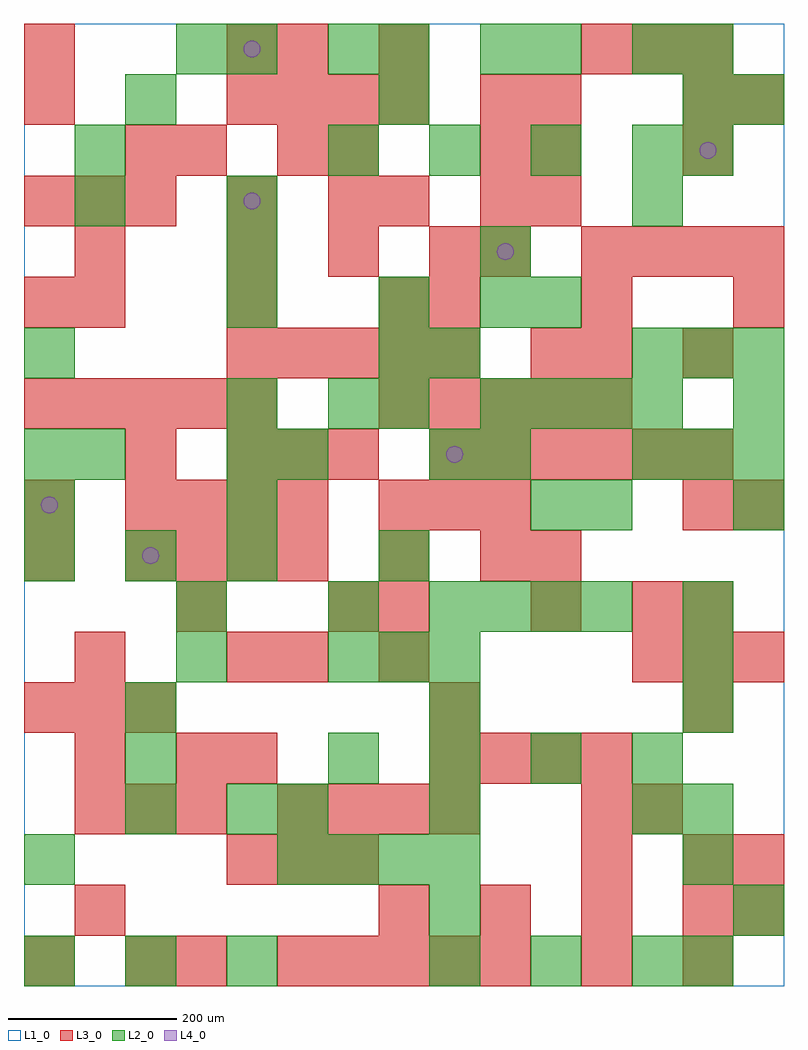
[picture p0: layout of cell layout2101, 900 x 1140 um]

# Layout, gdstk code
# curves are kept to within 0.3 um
import gdstk
lib = gdstk.Library(unit=1e-6, precision=1e-09)
def R(c, l, rs):  # rectangles x0, y0, x1, y1
    for r in rs: c.add(gdstk.rectangle(r[:2], r[2:], *l))
def A(c, l, x, y, w, h, nx, ny, dx, dy):  # array of equal rectangles
    R(c, l, [(x+i*dx, y+j*dy, x+i*dx+w, y+j*dy+h) for i in range(nx) for j in range(ny)])
def P(c, l, *ps):  # polygons
    for p in ps: c.add(gdstk.Polygon(p, *l))
L1_0 = (1, 0)
L2_0 = (2, 0)
L3_0 = (3, 0)
L4_0 = (4, 0)

layout2101 = lib.new_cell('layout2101')
R(layout2101, L1_0, [(0,0,900,1140)])
A(layout2101, L2_0, 0, 0, 60, 60, 3, 2, 120, 480)
A(layout2101, L2_0, 480, 0, 60, 60, 3, 1, 120, 0)
A(layout2101, L2_0, 480, 60, 60, 60, 1, 3, 0, 120)
A(layout2101, L2_0, 300, 120, 60, 60, 4, 1, 60, 0)
A(layout2101, L2_0, 120, 180, 60, 60, 1, 3, 0, 60)
A(layout2101, L2_0, 360, 240, 60, 60, 4, 2, 120, 720)
A(layout2101, L2_0, 780, 300, 60, 60, 1, 3, 0, 60)
A(layout2101, L2_0, 360, 360, 60, 60, 3, 1, 60, 0)
A(layout2101, L2_0, 480, 420, 60, 60, 4, 1, 60, 0)
A(layout2101, L2_0, 240, 540, 60, 60, 1, 3, 0, 60)
A(layout2101, L2_0, 720, 600, 60, 60, 3, 2, 60, 120)
A(layout2101, L2_0, 420, 660, 60, 60, 1, 3, 0, 60)
A(layout2101, L2_0, 540, 660, 60, 60, 4, 1, 60, 0)
A(layout2101, L2_0, 240, 780, 60, 60, 1, 3, 0, 60)
A(layout2101, L2_0, 780, 960, 60, 60, 1, 3, 0, 60)
R(layout2101, L2_0, [(780,0,840,60), (840,60,900,120), (0,120,60,180), (780,120,840,180), (240,180,300,240), (300,180,360,240), (720,180,780,240), (780,180,840,240), (180,360,240,420), (180,420,240,480), (360,420,420,480), (420,480,480,540), (0,540,60,600), (600,540,660,600), (660,540,720,600), (840,540,900,600), (0,600,60,660), (60,600,120,660), (300,600,360,660), (480,600,540,660), (540,600,600,660), (360,660,420,720), (840,660,900,720), (0,720,60,780), (480,720,540,780), (540,780,600,840), (600,780,660,840), (540,840,600,900), (60,900,120,960), (720,900,780,960), (60,960,120,1020), (120,1020,180,1080), (420,1020,480,1080), (840,1020,900,1080), (180,1080,240,1140), (240,1080,300,1140), (360,1080,420,1140), (420,1080,480,1140), (540,1080,600,1140), (600,1080,660,1140), (720,1080,780,1140)])
A(layout2101, L3_0, 300, 0, 60, 60, 5, 1, 60, 0)
A(layout2101, L3_0, 420, 60, 60, 60, 4, 1, 120, 0)
A(layout2101, L3_0, 240, 120, 60, 60, 3, 2, 60, 480)
A(layout2101, L3_0, 60, 180, 60, 60, 3, 1, 60, 0)
A(layout2101, L3_0, 300, 180, 60, 60, 4, 1, 60, 0)
A(layout2101, L3_0, 480, 240, 60, 60, 4, 1, 60, 0)
A(layout2101, L3_0, 0, 300, 60, 60, 3, 2, 60, 600)
A(layout2101, L3_0, 780, 300, 60, 60, 1, 3, 0, 120)
A(layout2101, L3_0, 420, 360, 60, 60, 1, 3, 0, 60)
A(layout2101, L3_0, 720, 360, 60, 60, 3, 1, 60, 0)
A(layout2101, L3_0, 120, 480, 60, 60, 4, 2, 60, 60)
A(layout2101, L3_0, 0, 540, 60, 60, 1, 3, 0, 240)
A(layout2101, L3_0, 420, 540, 60, 60, 3, 1, 60, 0)
A(layout2101, L3_0, 480, 600, 60, 60, 6, 1, 60, 0)
A(layout2101, L3_0, 0, 660, 60, 60, 5, 1, 60, 0)
A(layout2101, L3_0, 420, 660, 60, 60, 5, 1, 60, 0)
A(layout2101, L3_0, 240, 720, 60, 60, 5, 1, 60, 0)
A(layout2101, L3_0, 60, 780, 60, 60, 3, 1, 180, 0)
A(layout2101, L3_0, 480, 780, 60, 60, 3, 1, 180, 0)
A(layout2101, L3_0, 240, 840, 60, 60, 3, 1, 120, 0)
A(layout2101, L3_0, 540, 840, 60, 60, 1, 4, 0, 60)
A(layout2101, L3_0, 660, 840, 60, 60, 4, 1, 60, 0)
A(layout2101, L3_0, 600, 900, 60, 60, 1, 3, 0, 60)
A(layout2101, L3_0, 240, 1020, 60, 60, 4, 1, 60, 0)
A(layout2101, L3_0, 660, 1080, 60, 60, 3, 1, 60, 0)
R(layout2101, L3_0, [(0,0,60,60), (120,0,180,60), (180,0,240,60), (660,0,720,60), (780,0,840,60), (60,60,120,120), (840,60,900,120), (660,120,720,180), (780,120,840,180), (840,120,900,180), (660,180,720,240), (720,180,780,240), (60,240,120,300), (180,240,240,300), (240,240,300,300), (480,300,540,360), (60,360,120,420), (240,360,300,420), (300,360,360,420), (180,420,240,480), (360,420,420,480), (600,420,660,480), (720,420,780,480), (0,480,60,540), (540,480,600,540), (600,480,660,540), (840,540,900,600), (120,600,180,660), (600,720,660,780), (660,720,720,780), (780,720,840,780), (60,840,120,900), (240,900,300,960), (360,900,420,960), (420,900,480,960), (120,960,180,1020), (180,960,240,1020), (300,960,360,1020), (360,960,420,1020), (780,960,840,1020), (780,1020,840,1080), (840,1020,900,1080), (0,1080,60,1140), (240,1080,300,1140), (300,1080,360,1140), (420,1080,480,1140)])
P(layout2101, L4_0, [(40,570),(39.239,573.827),(37.071,577.071),(33.827,579.239),(30,580),(26.173,579.239),(22.929,577.071),(20.761,573.827),(20,570),(20.761,566.173),(22.929,562.929),(26.173,560.761),(30,560),(33.827,560.761),(37.071,562.929),(39.239,566.173)],
  [(160,510),(159.239,513.827),(157.071,517.071),(153.827,519.239),(150,520),(146.173,519.239),(142.929,517.071),(140.761,513.827),(140,510),(140.761,506.173),(142.929,502.929),(146.173,500.761),(150,500),(153.827,500.761),(157.071,502.929),(159.239,506.173)],
  [(280,930),(279.239,933.827),(277.071,937.071),(273.827,939.239),(270,940),(266.173,939.239),(262.929,937.071),(260.761,933.827),(260,930),(260.761,926.173),(262.929,922.929),(266.173,920.761),(270,920),(273.827,920.761),(277.071,922.929),(279.239,926.173)],
  [(280,1110),(279.239,1113.827),(277.071,1117.071),(273.827,1119.239),(270,1120),(266.173,1119.239),(262.929,1117.071),(260.761,1113.827),(260,1110),(260.761,1106.173),(262.929,1102.929),(266.173,1100.761),(270,1100),(273.827,1100.761),(277.071,1102.929),(279.239,1106.173)],
  [(520,630),(519.239,633.827),(517.071,637.071),(513.827,639.239),(510,640),(506.173,639.239),(502.929,637.071),(500.761,633.827),(500,630),(500.761,626.173),(502.929,622.929),(506.173,620.761),(510,620),(513.827,620.761),(517.071,622.929),(519.239,626.173)],
  [(580,870),(579.239,873.827),(577.071,877.071),(573.827,879.239),(570,880),(566.173,879.239),(562.929,877.071),(560.761,873.827),(560,870),(560.761,866.173),(562.929,862.929),(566.173,860.761),(570,860),(573.827,860.761),(577.071,862.929),(579.239,866.173)],
  [(820,990),(819.239,993.827),(817.071,997.071),(813.827,999.239),(810,1000),(806.173,999.239),(802.929,997.071),(800.761,993.827),(800,990),(800.761,986.173),(802.929,982.929),(806.173,980.761),(810,980),(813.827,980.761),(817.071,982.929),(819.239,986.173)])

lib.write_gds('layout2101.gds')
